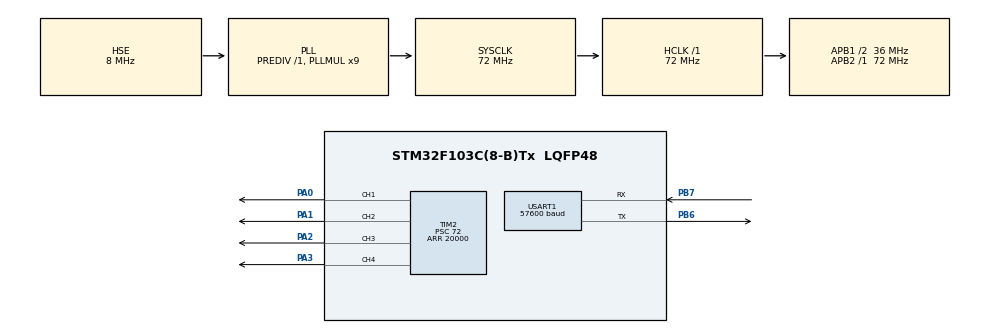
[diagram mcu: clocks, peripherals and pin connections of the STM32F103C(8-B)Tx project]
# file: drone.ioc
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Mcu.Family=STM32F1
Mcu.Name=STM32F103C(8-B)Tx
Mcu.Package=LQFP48
NVIC.PriorityGroup=NVIC_PRIORITYGROUP_4
NVIC.USART1_IRQn=true\:0\:0\:false\:false\:true\:true\:true
PA0-WKUP.Signal=S_TIM2_CH1_ETR
PA1.Signal=S_TIM2_CH2
PA13.Mode=Serial_Wire
PA13.Signal=SYS_JTMS-SWDIO
PA14.Mode=Serial_Wire
PA14.Signal=SYS_JTCK-SWCLK
PA2.Signal=S_TIM2_CH3
PA3.Signal=S_TIM2_CH4
PB6.Mode=Asynchronous
PB6.Signal=USART1_TX
PB7.Mode=Asynchronous
PB7.Signal=USART1_RX
PD0-OSC_IN.Mode=HSE-External-Oscillator
PD0-OSC_IN.Signal=RCC_OSC_IN
PD1-OSC_OUT.Mode=HSE-External-Oscillator
PD1-OSC_OUT.Signal=RCC_OSC_OUT
ProjectManager.HeapSize=0x200
ProjectManager.StackSize=0x400
ProjectManager.TargetToolchain=STM32CubeIDE
RCC.AHBFreq_Value=72000000
RCC.APB1CLKDivider=RCC_HCLK_DIV2
RCC.APB1Freq_Value=36000000
RCC.APB1TimFreq_Value=72000000
RCC.APB2Freq_Value=72000000
RCC.APB2TimFreq_Value=72000000
RCC.HCLKFreq_Value=72000000
RCC.PLLMUL=RCC_PLL_MUL9
RCC.PLLSourceVirtual=RCC_PLLSOURCE_HSE
RCC.SYSCLKFreq_VALUE=72000000
RCC.SYSCLKSource=RCC_SYSCLKSOURCE_PLLCLK
RCC.USBFreq_Value=72000000
SH.S_TIM2_CH1_ETR.0=TIM2_CH1,PWM Generation1 CH1
SH.S_TIM2_CH2.0=TIM2_CH2,PWM Generation2 CH2
SH.S_TIM2_CH3.0=TIM2_CH3,PWM Generation3 CH3
SH.S_TIM2_CH4.0=TIM2_CH4,PWM Generation4 CH4
TIM2.Channel-PWM\ Generation1\ CH1=TIM_CHANNEL_1
TIM2.Channel-PWM\ Generation2\ CH2=TIM_CHANNEL_2
TIM2.Channel-PWM\ Generation3\ CH3=TIM_CHANNEL_3
TIM2.Channel-PWM\ Generation4\ CH4=TIM_CHANNEL_4
TIM2.Period=20000
TIM2.Prescaler=72
USART1.BaudRate=57600
USART1.VirtualMode=VM_ASYNC
board=custom

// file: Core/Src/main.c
/* USER CODE BEGIN Header */
/**
  ******************************************************************************
  * @file           : main.c
  * @brief          : Main program body
  ******************************************************************************
  * @attention
  *
  * <h2><center>&copy; Copyright (c) 2019 STMicroelectronics.
  * All rights reserved.</center></h2>
  *
  * This software component is licensed by ST under BSD 3-Clause license,
  * the "License"; You may not use this file except in compliance with the
  * License. You may obtain a copy of the License at:
  *                        opensource.org/licenses/BSD-3-Clause
  *
  ******************************************************************************
  */
/* USER CODE END Header */

#include "main.h"

/* USER CODE BEGIN Includes */
#include "stdio.h"
/* USER CODE END Includes */

/* USER CODE BEGIN PD */
int _write(int file, char *ptr, int len)
{
  /* Implement your write code here, this is used by puts and printf for example */
  int i=0;
  for(i=0 ; i<len ; i++)
    ITM_SendChar((*ptr++));
  return len;
}
/* USER CODE END PD */

TIM_HandleTypeDef htim2;

UART_HandleTypeDef huart1;

/* USER CODE BEGIN PV */
uint8_t data[2];
uint32_t count=0;
/* USER CODE END PV */

void SystemClock_Config(void);
static void MX_GPIO_Init(void);
static void MX_TIM2_Init(void);
static void MX_USART1_UART_Init(void);

/* USER CODE BEGIN 0 */
void DRIVE_MOT(uint32_t* duty)
{
	htim2.Instance->CCR1 = duty[0];
	htim2.Instance->CCR2 = duty[1];
	htim2.Instance->CCR3 = duty[2];
	htim2.Instance->CCR4 = duty[3];

}
void HAL_UART_RxCpltCallback(UART_HandleTypeDef *huart)
{
	uint32_t x = (data[1])*4+1000;
	uint32_t duty[] = {x,x,x,x};
	DRIVE_MOT(duty);
	HAL_UART_Receive_IT(&huart1, data, 2);
}
/* USER CODE END 0 */

int main(void)
{

  /* MCU Configuration--------------------------------------------------------*/

  /* Reset of all peripherals, Initializes the Flash interface and the Systick. */
  HAL_Init();

  /* Configure the system clock */
  SystemClock_Config();

  /* Initialize all configured peripherals */
  MX_GPIO_Init();
  MX_TIM2_Init();
  MX_USART1_UART_Init();
  /* USER CODE BEGIN 2 */
  HAL_TIM_PWM_Start(&htim2, TIM_CHANNEL_1);
  HAL_TIM_PWM_Start(&htim2, TIM_CHANNEL_2);
  HAL_TIM_PWM_Start(&htim2, TIM_CHANNEL_3);
  HAL_TIM_PWM_Start(&htim2, TIM_CHANNEL_4);

  HAL_UART_Receive_IT(&huart1, data, 2);
  /* USER CODE END 2 */

  /* Infinite loop */
  while (1)
  {

  }
}

void SystemClock_Config(void)
{
  RCC_OscInitTypeDef RCC_OscInitStruct = {0};
  RCC_ClkInitTypeDef RCC_ClkInitStruct = {0};

  /** Initializes the CPU, AHB and APB busses clocks
  */
  RCC_OscInitStruct.OscillatorType = RCC_OSCILLATORTYPE_HSE;
  RCC_OscInitStruct.HSEState = RCC_HSE_ON;
  RCC_OscInitStruct.HSEPredivValue = RCC_HSE_PREDIV_DIV1;
  RCC_OscInitStruct.HSIState = RCC_HSI_ON;
  RCC_OscInitStruct.PLL.PLLState = RCC_PLL_ON;
  RCC_OscInitStruct.PLL.PLLSource = RCC_PLLSOURCE_HSE;
  RCC_OscInitStruct.PLL.PLLMUL = RCC_PLL_MUL9;
  if (HAL_RCC_OscConfig(&RCC_OscInitStruct) != HAL_OK)
  {
    Error_Handler();
  }
  /** Initializes the CPU, AHB and APB busses clocks
  */
  RCC_ClkInitStruct.ClockType = RCC_CLOCKTYPE_HCLK|RCC_CLOCKTYPE_SYSCLK
                              |RCC_CLOCKTYPE_PCLK1|RCC_CLOCKTYPE_PCLK2;
  RCC_ClkInitStruct.SYSCLKSource = RCC_SYSCLKSOURCE_PLLCLK;
  RCC_ClkInitStruct.AHBCLKDivider = RCC_SYSCLK_DIV1;
  RCC_ClkInitStruct.APB1CLKDivider = RCC_HCLK_DIV2;
  RCC_ClkInitStruct.APB2CLKDivider = RCC_HCLK_DIV1;

  if (HAL_RCC_ClockConfig(&RCC_ClkInitStruct, FLASH_LATENCY_2) != HAL_OK)
  {
    Error_Handler();
  }
}

static void MX_TIM2_Init(void)
{

  TIM_MasterConfigTypeDef sMasterConfig = {0};
  TIM_OC_InitTypeDef sConfigOC = {0};

  htim2.Instance = TIM2;
  htim2.Init.Prescaler = 72;
  htim2.Init.CounterMode = TIM_COUNTERMODE_UP;
  htim2.Init.Period = 20000;
  htim2.Init.ClockDivision = TIM_CLOCKDIVISION_DIV1;
  htim2.Init.AutoReloadPreload = TIM_AUTORELOAD_PRELOAD_DISABLE;
  if (HAL_TIM_PWM_Init(&htim2) != HAL_OK)
  {
    Error_Handler();
  }
  sMasterConfig.MasterOutputTrigger = TIM_TRGO_RESET;
  sMasterConfig.MasterSlaveMode = TIM_MASTERSLAVEMODE_DISABLE;
  if (HAL_TIMEx_MasterConfigSynchronization(&htim2, &sMasterConfig) != HAL_OK)
  {
    Error_Handler();
  }
  sConfigOC.OCMode = TIM_OCMODE_PWM1;
  sConfigOC.Pulse = 0;
  sConfigOC.OCPolarity = TIM_OCPOLARITY_HIGH;
  sConfigOC.OCFastMode = TIM_OCFAST_DISABLE;
  if (HAL_TIM_PWM_ConfigChannel(&htim2, &sConfigOC, TIM_CHANNEL_1) != HAL_OK)
  {
    Error_Handler();
  }
  if (HAL_TIM_PWM_ConfigChannel(&htim2, &sConfigOC, TIM_CHANNEL_2) != HAL_OK)
  {
    Error_Handler();
  }
  if (HAL_TIM_PWM_ConfigChannel(&htim2, &sConfigOC, TIM_CHANNEL_3) != HAL_OK)
  {
    Error_Handler();
  }
  if (HAL_TIM_PWM_ConfigChannel(&htim2, &sConfigOC, TIM_CHANNEL_4) != HAL_OK)
  {
    Error_Handler();
  }
  HAL_TIM_MspPostInit(&htim2);

}

static void MX_USART1_UART_Init(void)
{

  huart1.Instance = USART1;
  huart1.Init.BaudRate = 57600;
  huart1.Init.WordLength = UART_WORDLENGTH_8B;
  huart1.Init.StopBits = UART_STOPBITS_1;
  huart1.Init.Parity = UART_PARITY_NONE;
  huart1.Init.Mode = UART_MODE_TX_RX;
  huart1.Init.HwFlowCtl = UART_HWCONTROL_NONE;
  huart1.Init.OverSampling = UART_OVERSAMPLING_16;
  if (HAL_UART_Init(&huart1) != HAL_OK)
  {
    Error_Handler();
  }

}

static void MX_GPIO_Init(void)
{

  /* GPIO Ports Clock Enable */
  __HAL_RCC_GPIOD_CLK_ENABLE();
  __HAL_RCC_GPIOA_CLK_ENABLE();
  __HAL_RCC_GPIOB_CLK_ENABLE();

}

void Error_Handler(void)
{
}

/************************ (C) COPYRIGHT STMicroelectronics *****END OF FILE****/
